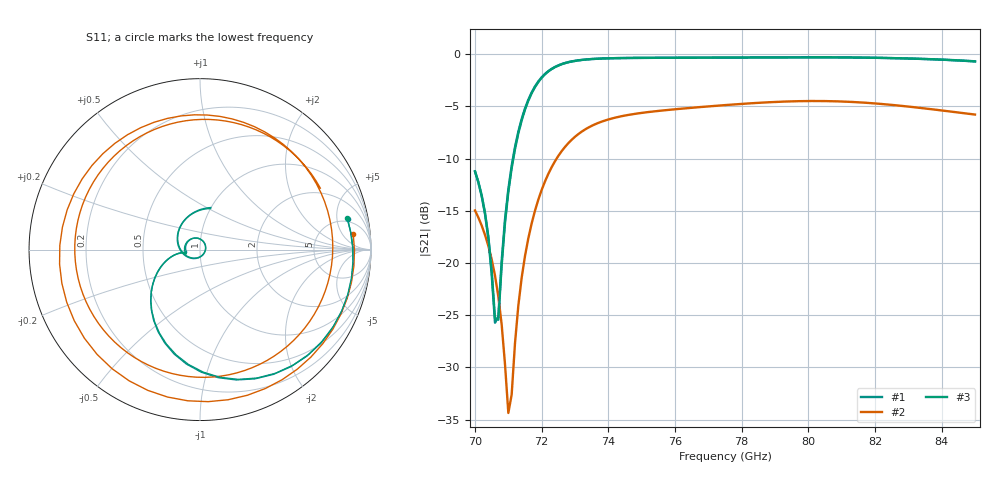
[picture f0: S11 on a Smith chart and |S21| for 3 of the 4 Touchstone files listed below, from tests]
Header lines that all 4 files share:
! Touchstone file exported from HFSS 2020.1.3
!  File:  /home/erdoel/scratch/P2S30/WR12_SIW_MS_Transition.aedt
!  Project:  WR12_SIW_MS_Transition
!  Setup:  Setup1
!  Solution:  Sweep
! Variables:
Fixed: T_L2 = 35um, fil = 0.3mm, hm = 0.4mm, hsub = 0.127mm, hwg = 1.55mm, l1 = 1.05mm, lcav = 1.92mm, lt = 0.7mm, offx = 0um, rvia = 0.075mm, s1 = 1.33mm, shift = 20um, sy = 0.65mm, th = 35um, w1 = 1.2mm, w50 = 300um, wcav = 3.5mm, wm = 1.9mm, wslot = 1.5mm, wt = 0.6mm, wwg = 3.1mm
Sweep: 70 GHz to 85 GHz
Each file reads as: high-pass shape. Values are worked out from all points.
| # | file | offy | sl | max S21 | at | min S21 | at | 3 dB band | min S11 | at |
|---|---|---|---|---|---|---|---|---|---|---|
| 1 | WR12_SIW_MS_Transition_Design1_10_unnormalized.s2p | 0um | 3.08mm | -0.30 dB | 79.8 GHz | -25.7 dB | 70.6 GHz | 71.8 GHz-85 GHz | -30.0 dB | 80 GHz |
| 2 | WR12_SIW_MS_Transition_Design1_29.s2p | 40um | 3.1mm | -4.49 dB | 80.2 GHz | -34.4 dB | 71 GHz | 73.2 GHz-85 GHz | -2.7 dB | 80.5 GHz |
| 3 | WR12_SIW_MS_Transition_Design1_Al_dB_unnormalized.s2p | 0um | 3.1mm | -0.30 dB | 79.9 GHz | -25.4 dB | 70.7 GHz | 71.8 GHz-85 GHz | -30.3 dB | 80.1 GHz |
| 4 | WR12_SIW_MS_Transition_Design1_Al_RI_unnormalized.s2p | 0um | 3.1mm | -0.30 dB | 79.9 GHz | -25.4 dB | 70.7 GHz | 71.8 GHz-85 GHz | -30.3 dB | 80.1 GHz |
